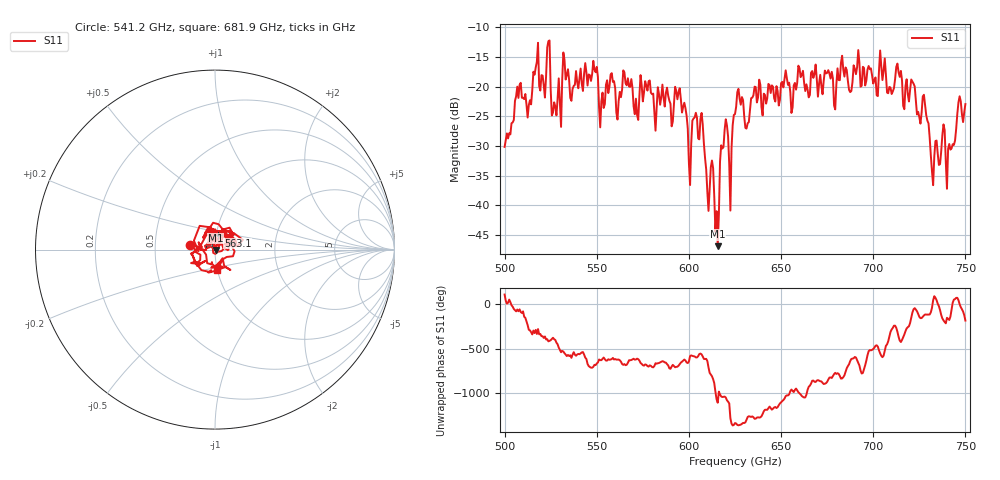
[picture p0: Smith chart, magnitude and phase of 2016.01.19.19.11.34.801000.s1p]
!Created with skrf (http://scikit-rf.org).
# GHz S RI R 50.0
!freq ReS11 ImS11
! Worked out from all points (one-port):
!   401 points, 500 GHz to 750 GHz, reference 50 ohm
!   lowest |S11| = -46.9 dB at 615.6 GHz (marker M1), VSWR 1.01, Z = 50.4 - j0.188 ohm
!   |S11| at or under -10 dB: start of sweep to end of sweep
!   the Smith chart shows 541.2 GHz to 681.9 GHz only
!   S11 on the Smith chart (normalised r, x): 541.2 GHz: 0.75, +0.04; 563.1 GHz: 1.02, +0.16; 681.9 GHz: 1.00, -0.23
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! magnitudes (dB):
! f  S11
! 500 GHz  -30.2
! 507.5 GHz  -21.9
! 513.8 GHz  -22.3
! 516.9 GHz  -16.8
! 520.6 GHz  -18.2
! 523.8 GHz  -12.4
! 526.9 GHz  -22.7
! 531.2 GHz  -18.8
! 541.2 GHz  -17.0
! 562.5 GHz  -20.9
! 563.1 GHz  -21.8
! 593.8 GHz  -22.1
! 600 GHz  -32.9
! 606.9 GHz  -24.4
! 610 GHz  -37.7
! 615.6 GHz  -46.9
! 618.8 GHz  -30.2
! 622.5 GHz  -40.9
! 625 GHz  -24.6
! 656.2 GHz  -23.5
! 681.9 GHz  -18.9
! 687.5 GHz  -20.9
! 705 GHz  -18.9
! 718.8 GHz  -21.3
! 728.1 GHz  -23.0
! 732.5 GHz  -36.6
! 740.6 GHz  -30.5
! 750 GHz  -22.9
